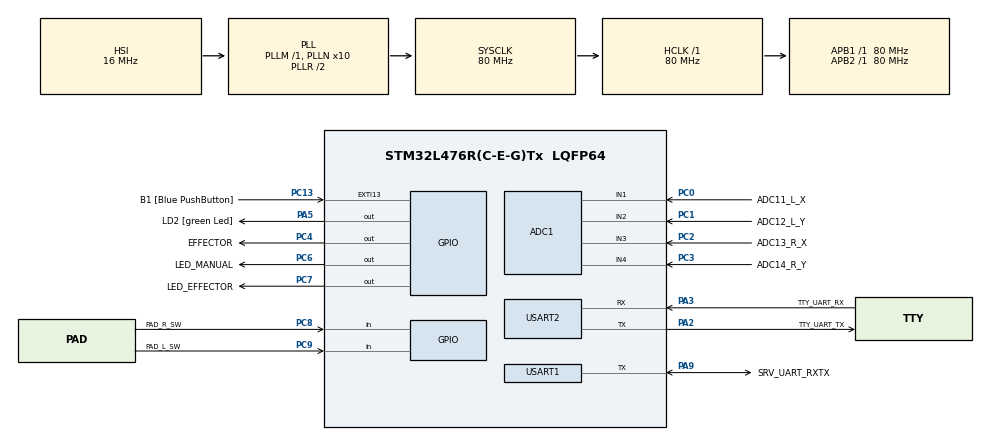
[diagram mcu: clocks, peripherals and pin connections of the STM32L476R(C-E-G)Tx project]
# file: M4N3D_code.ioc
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ADC1.Channel-0\#ChannelRegularConversion=ADC_CHANNEL_1
ADC1.Channel-1\#ChannelRegularConversion=ADC_CHANNEL_2
ADC1.Channel-2\#ChannelRegularConversion=ADC_CHANNEL_3
ADC1.Channel-3\#ChannelRegularConversion=ADC_CHANNEL_4
ADC1.ContinuousConvMode=ENABLE
ADC1.DMAContinuousRequests=ENABLE
ADC1.NbrOfConversion=4
ADC1.NbrOfConversionFlag=1
ADC1.OffsetNumber-0\#ChannelRegularConversion=ADC_OFFSET_NONE
ADC1.OffsetNumber-1\#ChannelRegularConversion=ADC_OFFSET_NONE
ADC1.OffsetNumber-2\#ChannelRegularConversion=ADC_OFFSET_NONE
ADC1.OffsetNumber-3\#ChannelRegularConversion=ADC_OFFSET_NONE
ADC1.Overrun=ADC_OVR_DATA_OVERWRITTEN
ADC1.OversamplingMode=DISABLE
ADC1.Rank-0\#ChannelRegularConversion=1
ADC1.Rank-1\#ChannelRegularConversion=2
ADC1.Rank-2\#ChannelRegularConversion=3
ADC1.Rank-3\#ChannelRegularConversion=4
ADC1.SamplingTime-0\#ChannelRegularConversion=ADC_SAMPLETIME_640CYCLES_5
ADC1.SamplingTime-1\#ChannelRegularConversion=ADC_SAMPLETIME_640CYCLES_5
ADC1.SamplingTime-2\#ChannelRegularConversion=ADC_SAMPLETIME_640CYCLES_5
ADC1.SamplingTime-3\#ChannelRegularConversion=ADC_SAMPLETIME_640CYCLES_5
ADC1.master=1
Dma.ADC1.0.Direction=DMA_PERIPH_TO_MEMORY
Dma.ADC1.0.Instance=DMA2_Channel3
Dma.ADC1.0.MemDataAlignment=DMA_MDATAALIGN_HALFWORD
Dma.ADC1.0.MemInc=DMA_MINC_ENABLE
Dma.ADC1.0.Mode=DMA_CIRCULAR
Dma.ADC1.0.PeriphDataAlignment=DMA_PDATAALIGN_HALFWORD
Dma.ADC1.0.PeriphInc=DMA_PINC_DISABLE
Dma.ADC1.0.Priority=DMA_PRIORITY_LOW
Dma.Request0=ADC1
Mcu.Family=STM32L4
Mcu.Name=STM32L476R(C-E-G)Tx
Mcu.Package=LQFP64
NVIC.DMA2_Channel3_IRQn=true\:0\:0\:false\:false\:true\:false\:true\:true
NVIC.PriorityGroup=NVIC_PRIORITYGROUP_4
NVIC.USART1_IRQn=true\:0\:0\:false\:false\:true\:true\:true\:true
NVIC.USART2_IRQn=true\:0\:0\:false\:false\:true\:true\:true\:true
PA13\ (JTMS-SWDIO).GPIO_Label=TMS
PA13\ (JTMS-SWDIO).Mode=Serial_Wire
PA13\ (JTMS-SWDIO).Signal=SYS_JTMS-SWDIO
PA14\ (JTCK-SWCLK).GPIO_Label=TCK
PA14\ (JTCK-SWCLK).Mode=Serial_Wire
PA14\ (JTCK-SWCLK).Signal=SYS_JTCK-SWCLK
PA2.GPIO_Label=TTY_UART_TX
PA2.GPIO_Mode=GPIO_MODE_AF_PP
PA2.GPIO_PuPd=GPIO_NOPULL
PA2.GPIO_Speed=GPIO_SPEED_FREQ_VERY_HIGH
PA2.Mode=Asynchronous
PA2.Signal=USART2_TX
PA3.GPIO_Label=TTY_UART_RX
PA3.GPIO_Mode=GPIO_MODE_AF_PP
PA3.GPIO_PuPd=GPIO_NOPULL
PA3.GPIO_Speed=GPIO_SPEED_FREQ_VERY_HIGH
PA3.Mode=Asynchronous
PA3.Signal=USART2_RX
PA5.GPIO_Label=LD2 [green Led]
PA5.GPIO_ModeDefaultOutputPP=GPIO_MODE_OUTPUT_PP
PA5.GPIO_PuPd=GPIO_NOPULL
PA5.GPIO_Speed=GPIO_SPEED_FREQ_LOW
PA5.Signal=GPIO_Output
PA9.GPIO_Label=SRV_UART_RXTX
PA9.Mode=Half_duplex(single_wire_mode)
PA9.Signal=USART1_TX
PB3\ (JTDO-TRACESWO).GPIO_Label=SWO
PB3\ (JTDO-TRACESWO).Signal=SYS_JTDO-SWO
PC0.GPIO_Label=ADC11_L_X
PC0.Signal=ADCx_IN1
PC1.GPIO_Label=ADC12_L_Y
PC1.Signal=ADCx_IN2
PC13.GPIO_Label=B1 [Blue PushButton]
PC13.GPIO_ModeDefaultEXTI=GPIO_MODE_IT_FALLING
PC13.GPIO_PuPd=GPIO_NOPULL
PC13.Signal=GPXTI13
PC14-OSC32_IN\ (PC14).Mode=LSE-External-Oscillator
PC14-OSC32_IN\ (PC14).Signal=RCC_OSC32_IN
PC15-OSC32_OUT\ (PC15).Mode=LSE-External-Oscillator
PC15-OSC32_OUT\ (PC15).Signal=RCC_OSC32_OUT
PC2.GPIO_Label=ADC13_R_X
PC2.Signal=ADCx_IN3
PC3.GPIO_Label=ADC14_R_Y
PC3.Signal=ADCx_IN4
PC4.GPIO_Label=EFFECTOR
PC4.Signal=GPIO_Output
PC6.GPIO_Label=LED_MANUAL
PC6.Signal=GPIO_Output
PC7.GPIO_Label=LED_EFFECTOR
PC7.Signal=GPIO_Output
PC8.GPIO_Label=PAD_R_SW
PC8.GPIO_PuPd=GPIO_PULLUP
PC8.Signal=GPIO_Input
PC9.GPIO_Label=PAD_L_SW
PC9.GPIO_PuPd=GPIO_PULLUP
PC9.Signal=GPIO_Input
PH0-OSC_IN\ (PH0).Signal=RCC_OSC_IN
PH1-OSC_OUT\ (PH1).Signal=RCC_OSC_OUT
ProjectManager.HeapSize=0x200
ProjectManager.StackSize=0x400
ProjectManager.TargetToolchain=STM32CubeIDE
RCC.ADCFreq_Value=64000000
RCC.AHBFreq_Value=80000000
RCC.APB1Freq_Value=80000000
RCC.APB1TimFreq_Value=80000000
RCC.APB2Freq_Value=80000000
RCC.APB2TimFreq_Value=80000000
RCC.CortexFreq_Value=80000000
RCC.HCLKFreq_Value=80000000
RCC.HSE_VALUE=8000000
RCC.HSI_VALUE=16000000
RCC.MSI_VALUE=4000000
RCC.PLLN=10
RCC.PLLSourceVirtual=RCC_PLLSOURCE_HSI
RCC.PREFETCH_ENABLE=1
RCC.SYSCLKFreq_VALUE=80000000
RCC.SYSCLKSource=RCC_SYSCLKSOURCE_PLLCLK
RCC.USBFreq_Value=64000000
RCC.VCOOutputFreq_Value=160000000
SH.ADCx_IN1.0=ADC1_IN1,IN1-Single-Ended
SH.ADCx_IN2.0=ADC1_IN2,IN2-Single-Ended
SH.ADCx_IN3.0=ADC1_IN3,IN3-Single-Ended
SH.ADCx_IN4.0=ADC1_IN4,IN4-Single-Ended
USART1.AutoBaudRateEnableParam=UART_ADVFEATURE_AUTOBAUDRATE_DISABLE
USART1.BaudRate=57600
USART1.VirtualMode-Asynchronous=VM_ASYNC
USART1.VirtualMode-Half_duplex(single_wire_mode)=VM_ASYNC
USART2.VirtualMode-Asynchronous=VM_ASYNC
board=NUCLEO-L476RG

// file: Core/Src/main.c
/* USER CODE BEGIN Header */
/**
  ******************************************************************************
  * @file           : main.c
  * @brief          : Main program body
  ******************************************************************************
  * @attention
  *
  * Copyright (c) 2022 STMicroelectronics.
  * All rights reserved.
  *
  * This software is licensed under terms that can be found in the LICENSE file
  * in the root directory of this software component.
  * If no LICENSE file comes with this software, it is provided AS-IS.
  *
  ******************************************************************************
  */
/* USER CODE END Header */
#include "main.h"

/* USER CODE BEGIN Includes */
#include "servo.h"
#include "pad.h"
#include "control.h"
#include "comm.h"
/* USER CODE END Includes */

 ADC_HandleTypeDef hadc1;
DMA_HandleTypeDef hdma_adc1;

UART_HandleTypeDef huart1;
UART_HandleTypeDef huart2;

void SystemClock_Config(void);
static void MX_GPIO_Init(void);
static void MX_USART2_UART_Init(void);
static void MX_DMA_Init(void);
static void MX_USART1_UART_Init(void);
static void MX_ADC1_Init(void);

/* USER CODE BEGIN 0 */
//int _write(int file, unsigned char *ptr, int len)
//{
//	HAL_UART_Transmit(&huart2, ptr, len, 50);
//	return len;
//}

void HAL_UART_RxCpltCallback(UART_HandleTypeDef *huart)
{
	SRV_uartIRQ(huart);
	COM_uartIRQ(huart);
}

/* USER CODE END 0 */

int main(void)
{

  /* MCU Configuration--------------------------------------------------------*/

  /* Reset of all peripherals, Initializes the Flash interface and the Systick. */
  HAL_Init();

  /* Configure the system clock */
  SystemClock_Config();

  /* USER CODE BEGIN SysInit */
  MX_DMA_Init();
  /* USER CODE END SysInit */

  /* Initialize all configured peripherals */
  MX_GPIO_Init();
  MX_USART2_UART_Init();
  MX_DMA_Init();
  MX_USART1_UART_Init();
  MX_ADC1_Init();
  /* USER CODE BEGIN 2 */

  SRV_Init(&huart1);
  PAD_Init(&hadc1);
  COM_Init(&huart2);
  KS_InitParams();

  /* USER CODE END 2 */

  /* Infinite loop */
  /* USER CODE BEGIN WHILE */

  HAL_Delay(1000);

  CTRL_startup();

  while (1)
  {
	  //Get actual robot state
	  PAD_updateState();
	  KS_getActualPos();

	  //Receive command from app
	  COM_rxLoop();

	  //Send stats to app
	  CTRL_printInfo();

	  //Do movement
	  CTRL_Loop();

    /* USER CODE END WHILE */

  }
}

void SystemClock_Config(void)
{
  RCC_OscInitTypeDef RCC_OscInitStruct = {0};
  RCC_ClkInitTypeDef RCC_ClkInitStruct = {0};

  /** Configure the main internal regulator output voltage
  */
  if (HAL_PWREx_ControlVoltageScaling(PWR_REGULATOR_VOLTAGE_SCALE1) != HAL_OK)
  {
    Error_Handler();
  }

  /** Initializes the RCC Oscillators according to the specified parameters
  * in the RCC_OscInitTypeDef structure.
  */
  RCC_OscInitStruct.OscillatorType = RCC_OSCILLATORTYPE_HSI;
  RCC_OscInitStruct.HSIState = RCC_HSI_ON;
  RCC_OscInitStruct.HSICalibrationValue = RCC_HSICALIBRATION_DEFAULT;
  RCC_OscInitStruct.PLL.PLLState = RCC_PLL_ON;
  RCC_OscInitStruct.PLL.PLLSource = RCC_PLLSOURCE_HSI;
  RCC_OscInitStruct.PLL.PLLM = 1;
  RCC_OscInitStruct.PLL.PLLN = 10;
  RCC_OscInitStruct.PLL.PLLP = RCC_PLLP_DIV7;
  RCC_OscInitStruct.PLL.PLLQ = RCC_PLLQ_DIV2;
  RCC_OscInitStruct.PLL.PLLR = RCC_PLLR_DIV2;
  if (HAL_RCC_OscConfig(&RCC_OscInitStruct) != HAL_OK)
  {
    Error_Handler();
  }

  /** Initializes the CPU, AHB and APB buses clocks
  */
  RCC_ClkInitStruct.ClockType = RCC_CLOCKTYPE_HCLK|RCC_CLOCKTYPE_SYSCLK
                              |RCC_CLOCKTYPE_PCLK1|RCC_CLOCKTYPE_PCLK2;
  RCC_ClkInitStruct.SYSCLKSource = RCC_SYSCLKSOURCE_PLLCLK;
  RCC_ClkInitStruct.AHBCLKDivider = RCC_SYSCLK_DIV1;
  RCC_ClkInitStruct.APB1CLKDivider = RCC_HCLK_DIV1;
  RCC_ClkInitStruct.APB2CLKDivider = RCC_HCLK_DIV1;

  if (HAL_RCC_ClockConfig(&RCC_ClkInitStruct, FLASH_LATENCY_4) != HAL_OK)
  {
    Error_Handler();
  }
}

static void MX_ADC1_Init(void)
{

  ADC_MultiModeTypeDef multimode = {0};
  ADC_ChannelConfTypeDef sConfig = {0};

  /** Common config
  */
  hadc1.Instance = ADC1;
  hadc1.Init.ClockPrescaler = ADC_CLOCK_ASYNC_DIV1;
  hadc1.Init.Resolution = ADC_RESOLUTION_12B;
  hadc1.Init.DataAlign = ADC_DATAALIGN_RIGHT;
  hadc1.Init.ScanConvMode = ADC_SCAN_ENABLE;
  hadc1.Init.EOCSelection = ADC_EOC_SINGLE_CONV;
  hadc1.Init.LowPowerAutoWait = DISABLE;
  hadc1.Init.ContinuousConvMode = ENABLE;
  hadc1.Init.NbrOfConversion = 4;
  hadc1.Init.DiscontinuousConvMode = DISABLE;
  hadc1.Init.ExternalTrigConv = ADC_SOFTWARE_START;
  hadc1.Init.ExternalTrigConvEdge = ADC_EXTERNALTRIGCONVEDGE_NONE;
  hadc1.Init.DMAContinuousRequests = ENABLE;
  hadc1.Init.Overrun = ADC_OVR_DATA_OVERWRITTEN;
  hadc1.Init.OversamplingMode = DISABLE;
  if (HAL_ADC_Init(&hadc1) != HAL_OK)
  {
    Error_Handler();
  }

  /** Configure the ADC multi-mode
  */
  multimode.Mode = ADC_MODE_INDEPENDENT;
  if (HAL_ADCEx_MultiModeConfigChannel(&hadc1, &multimode) != HAL_OK)
  {
    Error_Handler();
  }

  /** Configure Regular Channel
  */
  sConfig.Channel = ADC_CHANNEL_1;
  sConfig.Rank = ADC_REGULAR_RANK_1;
  sConfig.SamplingTime = ADC_SAMPLETIME_640CYCLES_5;
  sConfig.SingleDiff = ADC_SINGLE_ENDED;
  sConfig.OffsetNumber = ADC_OFFSET_NONE;
  sConfig.Offset = 0;
  if (HAL_ADC_ConfigChannel(&hadc1, &sConfig) != HAL_OK)
  {
    Error_Handler();
  }

  /** Configure Regular Channel
  */
  sConfig.Channel = ADC_CHANNEL_2;
  sConfig.Rank = ADC_REGULAR_RANK_2;
  if (HAL_ADC_ConfigChannel(&hadc1, &sConfig) != HAL_OK)
  {
    Error_Handler();
  }

  /** Configure Regular Channel
  */
  sConfig.Channel = ADC_CHANNEL_3;
  sConfig.Rank = ADC_REGULAR_RANK_3;
  if (HAL_ADC_ConfigChannel(&hadc1, &sConfig) != HAL_OK)
  {
    Error_Handler();
  }

  /** Configure Regular Channel
  */
  sConfig.Channel = ADC_CHANNEL_4;
  sConfig.Rank = ADC_REGULAR_RANK_4;
  if (HAL_ADC_ConfigChannel(&hadc1, &sConfig) != HAL_OK)
  {
    Error_Handler();
  }

}

static void MX_USART1_UART_Init(void)
{

  huart1.Instance = USART1;
  huart1.Init.BaudRate = 57600;
  huart1.Init.WordLength = UART_WORDLENGTH_8B;
  huart1.Init.StopBits = UART_STOPBITS_1;
  huart1.Init.Parity = UART_PARITY_NONE;
  huart1.Init.Mode = UART_MODE_TX_RX;
  huart1.Init.HwFlowCtl = UART_HWCONTROL_NONE;
  huart1.Init.OverSampling = UART_OVERSAMPLING_16;
  huart1.Init.OneBitSampling = UART_ONE_BIT_SAMPLE_DISABLE;
  huart1.AdvancedInit.AdvFeatureInit = UART_ADVFEATURE_NO_INIT;
  if (HAL_HalfDuplex_Init(&huart1) != HAL_OK)
  {
    Error_Handler();
  }

}

static void MX_USART2_UART_Init(void)
{

  huart2.Instance = USART2;
  huart2.Init.BaudRate = 115200;
  huart2.Init.WordLength = UART_WORDLENGTH_8B;
  huart2.Init.StopBits = UART_STOPBITS_1;
  huart2.Init.Parity = UART_PARITY_NONE;
  huart2.Init.Mode = UART_MODE_TX_RX;
  huart2.Init.HwFlowCtl = UART_HWCONTROL_NONE;
  huart2.Init.OverSampling = UART_OVERSAMPLING_16;
  huart2.Init.OneBitSampling = UART_ONE_BIT_SAMPLE_DISABLE;
  huart2.AdvancedInit.AdvFeatureInit = UART_ADVFEATURE_NO_INIT;
  if (HAL_UART_Init(&huart2) != HAL_OK)
  {
    Error_Handler();
  }

}

static void MX_DMA_Init(void)
{

  /* DMA controller clock enable */
  __HAL_RCC_DMA2_CLK_ENABLE();

  /* DMA interrupt init */
  /* DMA2_Channel3_IRQn interrupt configuration */
  HAL_NVIC_SetPriority(DMA2_Channel3_IRQn, 0, 0);
  HAL_NVIC_EnableIRQ(DMA2_Channel3_IRQn);

}

static void MX_GPIO_Init(void)
{
  GPIO_InitTypeDef GPIO_InitStruct = {0};

  /* GPIO Ports Clock Enable */
  __HAL_RCC_GPIOC_CLK_ENABLE();
  __HAL_RCC_GPIOH_CLK_ENABLE();
  __HAL_RCC_GPIOA_CLK_ENABLE();
  __HAL_RCC_GPIOB_CLK_ENABLE();

  /*Configure GPIO pin Output Level */
  HAL_GPIO_WritePin(LD2_GPIO_Port, LD2_Pin, GPIO_PIN_RESET);

  /*Configure GPIO pin Output Level */
  HAL_GPIO_WritePin(GPIOC, EFFECTOR_Pin|LED_MANUAL_Pin|LED_EFFECTOR_Pin, GPIO_PIN_RESET);

  /*Configure GPIO pin : B1_Pin */
  GPIO_InitStruct.Pin = B1_Pin;
  GPIO_InitStruct.Mode = GPIO_MODE_IT_FALLING;
  GPIO_InitStruct.Pull = GPIO_NOPULL;
  HAL_GPIO_Init(B1_GPIO_Port, &GPIO_InitStruct);

  /*Configure GPIO pin : LD2_Pin */
  GPIO_InitStruct.Pin = LD2_Pin;
  GPIO_InitStruct.Mode = GPIO_MODE_OUTPUT_PP;
  GPIO_InitStruct.Pull = GPIO_NOPULL;
  GPIO_InitStruct.Speed = GPIO_SPEED_FREQ_LOW;
  HAL_GPIO_Init(LD2_GPIO_Port, &GPIO_InitStruct);

  /*Configure GPIO pins : EFFECTOR_Pin LED_MANUAL_Pin LED_EFFECTOR_Pin */
  GPIO_InitStruct.Pin = EFFECTOR_Pin|LED_MANUAL_Pin|LED_EFFECTOR_Pin;
  GPIO_InitStruct.Mode = GPIO_MODE_OUTPUT_PP;
  GPIO_InitStruct.Pull = GPIO_NOPULL;
  GPIO_InitStruct.Speed = GPIO_SPEED_FREQ_LOW;
  HAL_GPIO_Init(GPIOC, &GPIO_InitStruct);

  /*Configure GPIO pins : PAD_R_SW_Pin PAD_L_SW_Pin */
  GPIO_InitStruct.Pin = PAD_R_SW_Pin|PAD_L_SW_Pin;
  GPIO_InitStruct.Mode = GPIO_MODE_INPUT;
  GPIO_InitStruct.Pull = GPIO_PULLUP;
  HAL_GPIO_Init(GPIOC, &GPIO_InitStruct);

}

void Error_Handler(void)
{
  __disable_irq();
  while (1)
  {
  }
}
